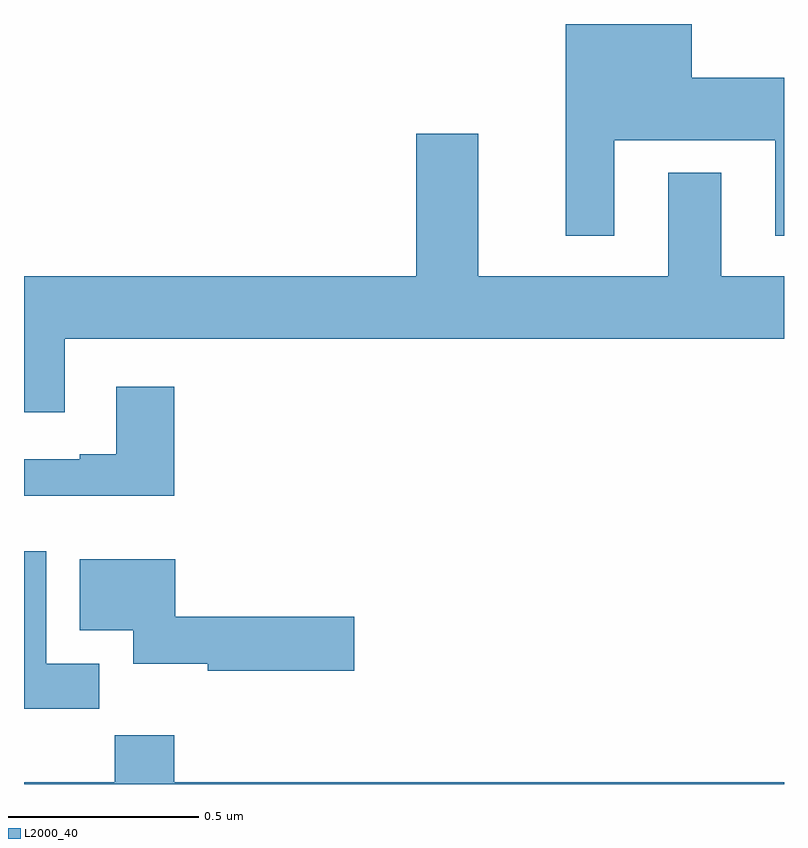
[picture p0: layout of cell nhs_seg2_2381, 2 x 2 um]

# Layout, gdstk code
import gdstk
lib = gdstk.Library(unit=1e-6, precision=1e-09)
def P(c, l, *ps):  # polygons
    for p in ps: c.add(gdstk.Polygon(p, *l))
L2000_40 = (2000, 40)

nhs_seg2_2381 = lib.new_cell('nhs_seg2_2381')
P(nhs_seg2_2381, L2000_40, [(141.553,645.494),(141.977,645.494),(141.977,645.243),(142,645.243),(142,645.658),(141.757,645.658),(141.757,645.8),(141.425,645.8),(141.425,645.243),(141.553,645.243)],
  [(140.107,644.972),(142,644.972),(142,645.136),(141.835,645.136),(141.835,645.409),(141.695,645.409),(141.695,645.136),(141.196,645.136),(141.196,645.511),(141.032,645.511),(141.032,645.136),(140,645.136),(140,644.778),(140.107,644.778)],
  [(140.396,644.845),(140.243,644.845),(140.243,644.668),(140.147,644.668),(140.147,644.655),(140,644.655),(140,644.558),(140.396,644.558)],
  [(140.198,644.116),(140.059,644.116),(140.059,644.413),(140,644.413),(140,643.998),(140.198,643.998)],
  [(140.869,644.24),(140.398,644.24),(140.398,644.392),(140.147,644.392),(140.147,644.204),(140.288,644.204),(140.288,644.117),(140.484,644.117),(140.484,644.098),(140.869,644.098)],
  [(142,643.804),(140.396,643.804),(140.396,643.928),(140.239,643.928),(140.239,643.804),(140,643.804),(140,643.8),(142,643.8)])

lib.write_gds('nhs_seg2_2381.gds')
